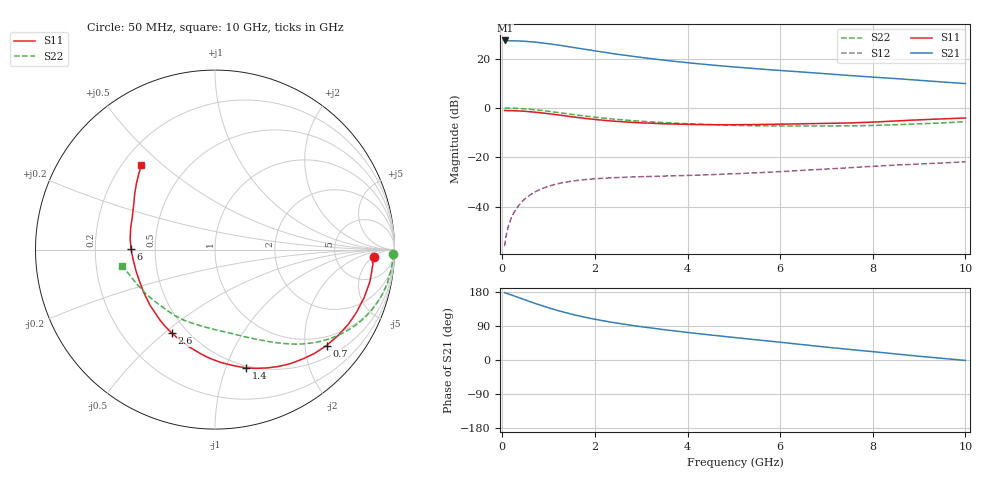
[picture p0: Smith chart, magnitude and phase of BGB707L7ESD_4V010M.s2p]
!  Infineon Technologies AG
!  BGB707L7ESD RU919007 w#7 Sample Build #08493 Teil Nr. 3
!  Vce = 4.0V, Ic = 10.0mA
!  DATUM: 30.06.2009 10:58:28
# GHz  S  MA  R  50
!f  S11  S21  S12  S22
!GHz  Mag  Ang  Mag  Ang  Mag  Ang  Mag  Ang
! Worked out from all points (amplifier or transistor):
!   52 points, 50 MHz to 10 GHz, reference 50 ohm
!   highest |S21| = 27.3 dB at 60 MHz (marker M1)
!   |S21| within 3 dB of that: start of sweep to 1.588 GHz
!   unconditionally stable (mu >= 1): 5.312 GHz to 9.216 GHz
!   at 130 MHz: K = 0.14, MSG = 37.6 dB, |S12| = -48.0 dB
!   at 1.4 GHz: K = 0.28, MSG = 27.5 dB, |S12| = -30.0 dB
!   at 10 GHz: K = 0.93, MSG = 15.9 dB, |S12| = -21.8 dB
!   lowest NFmin = 0.55 dB at 100 MHz
!   S11 on the Smith chart (normalised r, x): 50 MHz: 14, -5; 700 MHz: 0.77, -2.49; 1.4 GHz: 0.48, -1.18; 2.6 GHz: 0.41, -0.53; 6 GHz: 0.36, +0.00; 10 GHz: 0.28, +0.43
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0.05  0.8842 -2.7  22.86 177.6  0.001575 68.4  0.991 -1.4
0.06  0.8847 -3.9  23.27 177.2  0.001821 84.8  0.9915 -1.8
0.08  0.8802 -4.6  22.87 176.2  0.002475 80.6  0.9915 -2.7
0.09  0.8852 -5.3  23.06 176.4  0.002721 78.0  0.9915 -3.0
0.2  0.8808 -11.9  23 171.6  0.006059 80.0  0.9865 -7.1
0.35  0.8665 -20.7  22.71 164.9  0.01039 76.3  0.9729 -12.5
0.5  0.8511 -29.4  22.33 158.3  0.01461 72.1  0.9525 -17.6
0.7  0.8194 -40.7  21.57 149.6  0.01962 66.5  0.9173 -24.2
0.9  0.781 -51.3  20.48 141.6  0.02391 61.2  0.875 -30.2
1.1  0.7413 -61.4  19.38 134.1  0.0275 56.4  0.8291 -35.7
1.4  0.6814 -75.2  17.59 124.0  0.03161 50.4  0.762 -42.8
1.8  0.6116 -91.4  15.34 112.6  0.03527 44.5  0.6818 -50.5
2.2  0.5591 -105.5  13.42 103.1  0.03762 40.5  0.6185 -56.9
2.6  0.5237 -117.5  11.81 95.0  0.03917 38.2  0.571 -62.3
3  0.4979 -128.0  10.54 87.9  0.04032 37.0  0.5355 -67.4
3.5  0.4767 -139.6  9.256 80.0  0.04156 36.5  0.5025 -73.2
4.5  0.4563 -158.0  7.42 66.0  0.04432 38.0  0.4578 -84.6
5.5  0.4599 -173.5  6.206 53.2  0.04842 40.6  0.4341 -98.2
6  0.4676 179.8  5.733 46.9  0.05108 41.8  0.4296 -105.6
7  0.4853 165.4  4.911 33.9  0.05763 43.1  0.4305 -121.8
8.5  0.5432 145.5  3.923 16.0  0.06943 42.2  0.4564 -146.9
10  0.6238 131.1  3.11 -1.2  0.08085 39.6  0.525 -170.0
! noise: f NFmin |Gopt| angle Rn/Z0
0.1  0.55  0.46  2  0.18
0.45  0.69  0.46  4  0.18
0.9  0.73  0.47  12  0.18
1.8  0.75  0.4  33  0.17
5  0.97  0.31  70  0.16
10  1.48  0.39  -123  0.14
